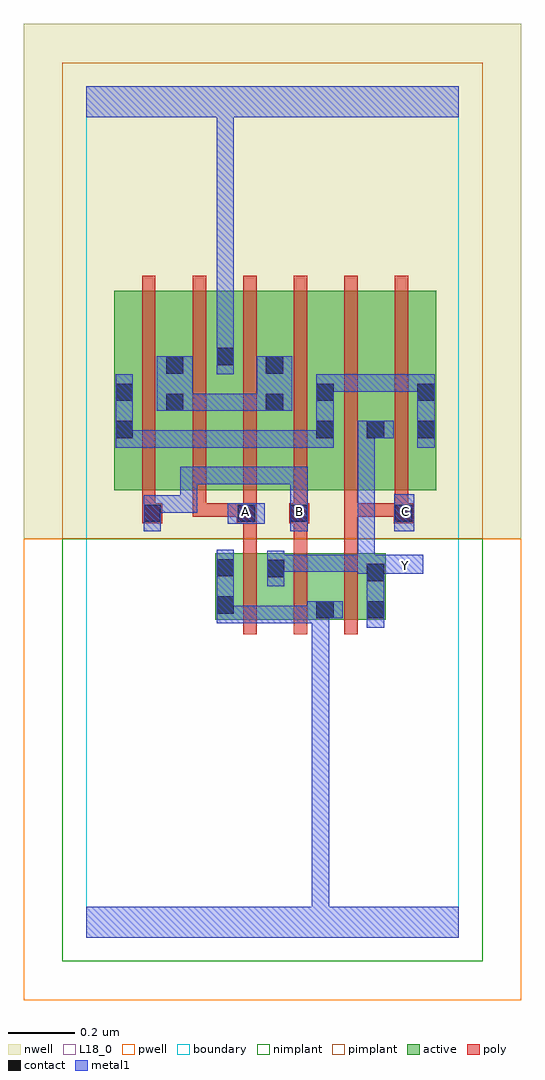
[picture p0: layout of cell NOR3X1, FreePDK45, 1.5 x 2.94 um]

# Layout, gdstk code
import gdstk
lib = gdstk.Library(unit=1e-6, precision=1e-09)
def R(c, l, rs):  # rectangles x0, y0, x1, y1
    for r in rs: c.add(gdstk.rectangle(r[:2], r[2:], *l))
def A(c, l, x, y, w, h, nx, ny, dx, dy):  # array of equal rectangles
    R(c, l, [(x+i*dx, y+j*dy, x+i*dx+w, y+j*dy+h) for i in range(nx) for j in range(ny)])
active = (1, 0)
pwell = (2, 0)
nwell = (3, 0)
nimplant = (4, 0)
pimplant = (5, 0)
poly = (9, 0)
contact = (10, 0)
metal1 = (11, 0)
L18_0 = (18, 0)
boundary = (235, 0)

nor3x1 = lib.new_cell('NOR3X1')
A(nor3x1, active, 0.536, 1.346, 0.212, 0.6, 3, 1, 0.152, 0)
R(nor3x1, active, [(0.388,0.956,0.448,1.156), (0.388,0.956,0.6,1.156), (0.54,0.956,0.748,1.156), (0.54,0.956,0.6,1.144), (0.688,0.956,0.9,1.156), (0.688,0.956,0.748,1.04), (0.84,0.956,0.9,1.156), (0.084,1.346,0.296,1.946), (0.084,1.346,0.144,1.946), (0.236,1.346,0.448,1.946), (0.388,1.346,0.596,1.946), (0.992,1.346,1.052,1.844), (0.688,1.498,0.748,1.844), (0.84,1.498,0.9,1.844), (0.236,1.58,0.296,1.946), (0.536,1.58,0.596,1.844), (0.388,1.672,0.448,1.946)])
R(nor3x1, pwell, [(-0.188,-0.188,1.308,1.2)])
R(nor3x1, nwell, [(-0.188,1.2,1.308,2.748)])
R(nor3x1, nimplant, [(-0.072,-0.072,1.192,1.2)])
R(nor3x1, pimplant, [(-0.072,1.2,1.192,2.632)])
A(nor3x1, poly, 0.472, 0.912, 0.04, 0.288, 3, 1, 0.152, 0)
A(nor3x1, poly, 0.168, 1.266, 0.04, 0.076, 6, 1, 0.152, 0)
A(nor3x1, poly, 0.168, 1.302, 0.04, 0.688, 6, 1, 0.152, 0)
R(nor3x1, poly, [(0.472,1.16,0.512,1.286), (0.624,1.16,0.664,1.286), (0.776,1.16,0.816,1.306), (0.168,1.246,0.228,1.306), (0.452,1.246,0.512,1.306), (0.61,1.246,0.67,1.306), (0.624,1.246,0.664,1.286), (0.624,1.246,0.664,1.286), (0.924,1.246,0.984,1.306), (0.32,1.266,0.36,1.306), (0.32,1.266,0.512,1.306), (0.472,1.266,0.512,1.306), (0.472,1.266,0.512,1.306), (0.472,1.266,0.512,1.306), (0.472,1.266,0.512,1.306), (0.776,1.266,0.816,1.306), (0.776,1.266,0.816,1.306), (0.776,1.266,0.816,1.306), (0.776,1.266,0.964,1.306), (0.924,1.266,0.964,1.306), (0.924,1.266,0.964,1.306)])
A(nor3x1, contact, 0.692, 1.502, 0.052, 0.052, 3, 1, 0.152, 0)
R(nor3x1, contact, [(0.692,0.96,0.744,1.012), (0.844,0.96,0.896,1.012), (0.392,0.974,0.444,1.026), (0.844,1.072,0.896,1.124), (0.544,1.084,0.596,1.136), (0.392,1.086,0.444,1.138), (0.172,1.25,0.224,1.302), (0.456,1.25,0.508,1.302), (0.614,1.25,0.666,1.302), (0.928,1.25,0.98,1.302), (0.088,1.502,0.14,1.554), (0.24,1.584,0.292,1.636), (0.54,1.584,0.592,1.636), (0.088,1.614,0.14,1.666), (0.692,1.614,0.744,1.666), (0.996,1.614,1.048,1.666), (0.24,1.696,0.292,1.748), (0.54,1.696,0.592,1.748), (0.392,1.722,0.444,1.774)])
A(nor3x1, metal1, 0.282, 1.364, 0.162, 0.052, 1, 3, 0, 0.11)
R(nor3x1, metal1, [(0,0,1.12,0.092), (0.678,0.04,0.73,0.092), (0.678,0.04,0.73,0.092), (0.678,0.04,0.73,0.092), (0.678,0.04,0.73,0.092), (0.678,0.04,0.73,0.092), (0.678,0.04,0.73,0.092), (0.678,0.04,0.73,0.092), (0.678,0.04,0.73,0.092), (0.678,0.04,0.73,0.092), (0.678,0.04,0.73,0.092), (0.678,0.04,0.73,0.092), (0.678,0.04,0.73,0.092), (0.678,0.04,0.73,0.092), (0.678,0.04,0.73,0.092), (0.678,0.04,0.73,1.012), (0.844,0.932,0.896,1.152), (0.392,0.946,0.554,0.998), (0.392,0.946,0.444,1.166), (0.392,0.946,0.444,0.998), (0.392,0.946,0.444,0.998), (0.502,0.946,0.554,0.998), (0.502,0.946,0.716,0.998), (0.664,0.946,0.716,1.012), (0.664,0.96,0.716,1.012), (0.664,0.96,0.772,1.012), (0.678,0.96,0.73,1.012), (0.678,0.96,0.73,1.012), (0.544,1.056,0.596,1.164), (0.816,1.094,1.014,1.152), (0.844,1.094,0.896,1.146), (0.544,1.1,0.718,1.152), (0.666,1.1,0.828,1.152), (0.666,1.1,0.718,1.152), (0.666,1.1,0.718,1.152), (0.666,1.1,0.718,1.152), (0.776,1.1,0.828,1.152), (0.776,1.1,0.896,1.152), (0.816,1.1,0.868,1.152), (0.816,1.1,0.868,1.152), (0.816,1.1,0.868,1.554), (0.172,1.222,0.224,1.33), (0.614,1.222,0.666,1.416), (0.926,1.222,0.986,1.334), (0.426,1.244,0.536,1.306), (0.172,1.278,0.334,1.33), (0.282,1.278,0.334,1.416), (0.282,1.364,0.334,1.416), (0.282,1.364,0.334,1.416), (0.392,1.364,0.444,1.416), (0.392,1.364,0.444,1.416), (0.392,1.364,0.444,1.416), (0.392,1.364,0.606,1.416), (0.554,1.364,0.606,1.416), (0.554,1.364,0.666,1.416), (0.088,1.474,0.14,1.694), (0.088,1.474,0.14,1.526), (0.088,1.474,0.14,1.526), (0.088,1.474,0.334,1.526), (0.282,1.474,0.334,1.526), (0.282,1.474,0.334,1.526), (0.282,1.474,0.334,1.526), (0.392,1.474,0.554,1.526), (0.392,1.474,0.444,1.526), (0.392,1.474,0.444,1.526), (0.392,1.474,0.444,1.526), (0.502,1.474,0.554,1.526), (0.502,1.474,0.718,1.526), (0.666,1.474,0.718,1.526), (0.666,1.474,0.744,1.526), (0.692,1.474,0.744,1.694), (0.996,1.474,1.048,1.694), (0.816,1.502,0.924,1.554), (0.212,1.584,0.32,1.748), (0.268,1.584,0.334,1.636), (0.282,1.584,0.334,1.636), (0.392,1.584,0.444,1.636), (0.392,1.584,0.444,1.636), (0.392,1.584,0.444,1.636), (0.392,1.584,0.564,1.636), (0.512,1.584,0.62,1.748), (0.692,1.642,0.744,1.694), (0.692,1.642,0.744,1.694), (0.692,1.642,0.828,1.694), (0.776,1.642,0.938,1.694), (0.776,1.642,0.828,1.694), (0.886,1.642,1.048,1.694), (0.886,1.642,0.938,1.694), (0.886,1.642,0.938,1.694), (0.886,1.642,0.938,1.694), (0.392,1.694,0.444,1.802), (0.392,1.75,0.444,1.802), (0.392,1.75,0.444,1.802), (0.392,1.75,0.444,1.802), (0.392,1.75,0.444,1.802), (0.392,1.75,0.444,2.52), (0,2.468,1.12,2.56), (0.392,2.468,0.444,2.52), (0.392,2.468,0.444,2.52), (0.392,2.468,0.444,2.52), (0.392,2.468,0.444,2.52), (0.392,2.468,0.444,2.52), (0.392,2.468,0.444,2.52), (0.392,2.468,0.444,2.52), (0.392,2.468,0.444,2.52)])
R(nor3x1, L18_0, [(0,0,1.12,0.092), (0.678,0.04,0.73,0.092), (0.678,0.04,0.73,0.092), (0.678,0.04,0.73,0.092), (0.678,0.04,0.73,0.092), (0.678,0.04,0.73,0.092), (0.678,0.04,0.73,0.092), (0.678,0.04,0.73,0.092), (0.678,0.04,0.73,0.092), (0.678,0.04,0.73,0.092), (0.678,0.04,0.73,0.092), (0.678,0.04,0.73,0.092), (0.678,0.04,0.73,0.092), (0.678,0.04,0.73,0.092), (0.678,0.04,0.73,0.092), (0.678,0.04,0.73,1.012), (0.844,0.932,0.896,1.152), (0.392,0.946,0.554,0.998), (0.392,0.946,0.444,0.998), (0.392,0.946,0.444,0.998), (0.392,0.946,0.444,1.166), (0.502,0.946,0.554,0.998), (0.502,0.946,0.716,0.998), (0.664,0.946,0.716,1.012), (0.664,0.96,0.716,1.012), (0.664,0.96,0.772,1.012), (0.678,0.96,0.73,1.012), (0.678,0.96,0.73,1.012), (0.544,1.056,0.596,1.164), (0.816,1.094,1.014,1.152), (0.844,1.094,0.896,1.146), (0.934,1.094,0.986,1.146), (0.544,1.1,0.718,1.152), (0.666,1.1,0.828,1.152), (0.666,1.1,0.718,1.152), (0.666,1.1,0.718,1.152), (0.666,1.1,0.718,1.152), (0.776,1.1,0.828,1.152), (0.776,1.1,0.896,1.152), (0.816,1.1,0.868,1.152), (0.816,1.1,0.868,1.152), (0.816,1.1,0.868,1.554), (0.172,1.222,0.224,1.33), (0.614,1.222,0.666,1.416), (0.926,1.222,0.986,1.334), (0.426,1.244,0.536,1.306), (0.454,1.254,0.506,1.306), (0.614,1.254,0.666,1.306), (0.934,1.254,0.986,1.306), (0.172,1.278,0.334,1.33), (0.282,1.278,0.334,1.416), (0.282,1.364,0.444,1.416), (0.282,1.364,0.334,1.416), (0.282,1.364,0.334,1.416), (0.392,1.364,0.444,1.416), (0.392,1.364,0.444,1.416), (0.392,1.364,0.444,1.416), (0.392,1.364,0.606,1.416), (0.554,1.364,0.606,1.416), (0.554,1.364,0.666,1.416), (0.816,1.502,0.924,1.554), (0.392,1.694,0.444,1.802), (0.392,1.75,0.444,1.802), (0.392,1.75,0.444,1.802), (0.392,1.75,0.444,1.802), (0.392,1.75,0.444,1.802), (0.392,1.75,0.444,2.52), (0,2.468,1.12,2.56), (0.392,2.468,0.444,2.52), (0.392,2.468,0.444,2.52), (0.392,2.468,0.444,2.52), (0.392,2.468,0.444,2.52), (0.392,2.468,0.444,2.52), (0.392,2.468,0.444,2.52), (0.392,2.468,0.444,2.52), (0.392,2.468,0.444,2.52)])
R(nor3x1, boundary, [(0,0,1.12,2.56)])
nor3x1.add(gdstk.Label('A', (0.48,1.28), layer=11, texttype=0))
nor3x1.add(gdstk.Label('B', (0.64,1.28), layer=11, texttype=0))
nor3x1.add(gdstk.Label('C', (0.96,1.28), layer=11, texttype=0))
nor3x1.add(gdstk.Label('Y', (0.96,1.12), layer=11, texttype=0))

lib.write_gds('NOR3X1.gds')
